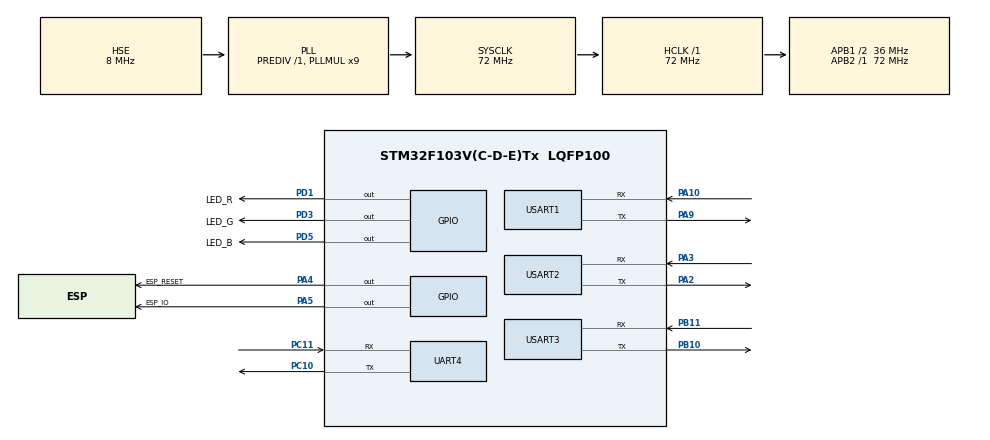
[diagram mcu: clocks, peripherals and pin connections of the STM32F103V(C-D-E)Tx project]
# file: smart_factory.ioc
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Dma.Request0=USART1_RX
Dma.Request1=USART2_RX
Dma.Request2=USART3_RX
Dma.USART1_RX.0.Direction=DMA_PERIPH_TO_MEMORY
Dma.USART1_RX.0.Instance=DMA1_Channel5
Dma.USART1_RX.0.MemDataAlignment=DMA_MDATAALIGN_BYTE
Dma.USART1_RX.0.MemInc=DMA_MINC_ENABLE
Dma.USART1_RX.0.Mode=DMA_CIRCULAR
Dma.USART1_RX.0.PeriphDataAlignment=DMA_PDATAALIGN_BYTE
Dma.USART1_RX.0.PeriphInc=DMA_PINC_DISABLE
Dma.USART1_RX.0.Priority=DMA_PRIORITY_HIGH
Dma.USART2_RX.1.Direction=DMA_PERIPH_TO_MEMORY
Dma.USART2_RX.1.Instance=DMA1_Channel6
Dma.USART2_RX.1.MemDataAlignment=DMA_MDATAALIGN_BYTE
Dma.USART2_RX.1.MemInc=DMA_MINC_ENABLE
Dma.USART2_RX.1.Mode=DMA_CIRCULAR
Dma.USART2_RX.1.PeriphDataAlignment=DMA_PDATAALIGN_BYTE
Dma.USART2_RX.1.PeriphInc=DMA_PINC_DISABLE
Dma.USART2_RX.1.Priority=DMA_PRIORITY_LOW
Dma.USART3_RX.2.Direction=DMA_PERIPH_TO_MEMORY
Dma.USART3_RX.2.Instance=DMA1_Channel3
Dma.USART3_RX.2.MemDataAlignment=DMA_MDATAALIGN_BYTE
Dma.USART3_RX.2.MemInc=DMA_MINC_ENABLE
Dma.USART3_RX.2.Mode=DMA_CIRCULAR
Dma.USART3_RX.2.PeriphDataAlignment=DMA_PDATAALIGN_BYTE
Dma.USART3_RX.2.PeriphInc=DMA_PINC_DISABLE
Dma.USART3_RX.2.Priority=DMA_PRIORITY_LOW
FREERTOS.BinarySemaphores01=myBinarySem01,Dynamic,NULL
FREERTOS.CountingSemaphores01=myCountingSem01,1,Dynamic,NULL
FREERTOS.Events01=myEvent01,Dynamic,NULL
FREERTOS.Mutexes01=myMutex01,Dynamic,NULL
FREERTOS.RecursiveMutexes01=myRecursiveMutex01,Dynamic,NULL
FREERTOS.Tasks01=main_user,47,128,StartMainTask,Default,NULL,Dynamic,NULL,NULL;revGpsData,8,128,revGpsDataFunc,Default,NULL,Dynamic,NULL,NULL;myTask03,41,128,wifiTask,Default,NULL,Dynamic,NULL,NULL;myTask04,8,128,dataUser,Default,NULL,Dynamic,NULL,NULL
FREERTOS.Timers01=myTimer01,Callback01,osTimerPeriodic,Default,NULL,Dynamic,NULL;myTimer02,Callback02,osTimerPeriodic,Default,NULL,Dynamic,NULL
FREERTOS.configTOTAL_HEAP_SIZE=10000
Mcu.Family=STM32F1
Mcu.Name=STM32F103V(C-D-E)Tx
Mcu.Package=LQFP100
NVIC.DMA1_Channel3_IRQn=true\:5\:0\:false\:false\:true\:true\:false\:true
NVIC.DMA1_Channel5_IRQn=true\:5\:0\:false\:false\:true\:true\:false\:true
NVIC.DMA1_Channel6_IRQn=true\:5\:0\:false\:false\:true\:true\:false\:true
NVIC.PriorityGroup=NVIC_PRIORITYGROUP_4
NVIC.TIM1_UP_IRQn=true\:0\:0\:false\:false\:true\:false\:false\:true
NVIC.TIM6_IRQn=true\:5\:0\:false\:false\:true\:true\:true\:true
NVIC.TimeBase=TIM1_UP_IRQn
NVIC.TimeBaseIP=TIM1
NVIC.USART1_IRQn=true\:5\:0\:false\:false\:true\:true\:true\:true
NVIC.USART2_IRQn=true\:5\:0\:false\:false\:true\:true\:true\:true
NVIC.USART3_IRQn=true\:5\:0\:false\:false\:true\:true\:true\:true
OSC_IN.Mode=HSE-External-Oscillator
OSC_IN.Signal=RCC_OSC_IN
OSC_OUT.Mode=HSE-External-Oscillator
OSC_OUT.Signal=RCC_OSC_OUT
PA10.Mode=Asynchronous
PA10.Signal=USART1_RX
PA13.Mode=Serial_Wire
PA13.Signal=SYS_JTMS-SWDIO
PA14.Mode=Serial_Wire
PA14.Signal=SYS_JTCK-SWCLK
PA2.Mode=Asynchronous
PA2.Signal=USART2_TX
PA3.Mode=Asynchronous
PA3.Signal=USART2_RX
PA4.GPIO_Label=ESP_RESET
PA4.GPIO_PuPd=GPIO_PULLUP
PA4.Signal=GPIO_Output
PA5.GPIO_Label=ESP_IO
PA5.GPIO_PuPd=GPIO_PULLUP
PA5.Signal=GPIO_Output
PA9.Mode=Asynchronous
PA9.Signal=USART1_TX
PB10.Mode=Asynchronous
PB10.Signal=USART3_TX
PB11.Mode=Asynchronous
PB11.Signal=USART3_RX
PC10.Mode=Asynchronous
PC10.Signal=UART4_TX
PC11.Mode=Asynchronous
PC11.Signal=UART4_RX
PD1.GPIO_Label=LED_R
PD1.Signal=GPIO_Output
PD3.GPIO_Label=LED_G
PD3.Signal=GPIO_Output
PD5.GPIO_Label=LED_B
PD5.Signal=GPIO_Output
ProjectManager.HeapSize=0x200
ProjectManager.StackSize=0x400
ProjectManager.TargetToolchain=MDK-ARM V5.27
RCC.AHBFreq_Value=72000000
RCC.APB1CLKDivider=RCC_HCLK_DIV2
RCC.APB1Freq_Value=36000000
RCC.APB1TimFreq_Value=72000000
RCC.APB2Freq_Value=72000000
RCC.APB2TimFreq_Value=72000000
RCC.HCLKFreq_Value=72000000
RCC.PLLMUL=RCC_PLL_MUL9
RCC.PLLSourceVirtual=RCC_PLLSOURCE_HSE
RCC.SYSCLKFreq_VALUE=72000000
RCC.SYSCLKSource=RCC_SYSCLKSOURCE_PLLCLK
RCC.USBFreq_Value=72000000
TIM6.AutoReloadPreload=TIM_AUTORELOAD_PRELOAD_ENABLE
TIM6.Period=1000
TIM6.Prescaler=36-1
UART4.VirtualMode=Asynchronous
USART1.VirtualMode=VM_ASYNC
USART2.VirtualMode=VM_ASYNC
USART3.VirtualMode=VM_ASYNC
VP_FREERTOS_VS_CMSIS_V2.Mode=CMSIS_V2
VP_SYS_VS_tim1.Mode=TIM1
VP_TIM6_VS_ClockSourceINT.Mode=Enable_Timer
board=custom

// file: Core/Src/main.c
/* USER CODE BEGIN Header */
/**
  ******************************************************************************
  * @file           : main.c
  * @brief          : Main program body
  ******************************************************************************
  * @attention
  *
  * <h2><center>&copy; Copyright (c) 2021 STMicroelectronics.
  * All rights reserved.</center></h2>
  *
  * This software component is licensed by ST under Ultimate Liberty license
  * SLA0044, the "License"; You may not use this file except in compliance with
  * the License. You may obtain a copy of the License at:
  *                             www.st.com/SLA0044
  *
  ******************************************************************************
  */
/* USER CODE END Header */
#include "main.h"
#include "cmsis_os.h"
#include "dma.h"
#include "tim.h"
#include "usart.h"
#include "gpio.h"

/* USER CODE BEGIN Includes */
#include "stdio.h"
/* USER CODE END Includes */

/* USER CODE BEGIN PTD */
int fputc(int ch, FILE* stream)
{
		HAL_UART_Transmit(&huart1,(uint8_t *)&ch,1,0xff);
    return ch;
}

/* USER CODE END PTD */

void SystemClock_Config(void);
void MX_FREERTOS_Init(void);

int main(void)
{

  /* MCU Configuration--------------------------------------------------------*/

  /* Reset of all peripherals, Initializes the Flash interface and the Systick. */
  HAL_Init();

  /* Configure the system clock */
  SystemClock_Config();

  /* Initialize all configured peripherals */
  MX_GPIO_Init();
  MX_DMA_Init();
  MX_USART1_UART_Init();
  MX_USART2_UART_Init();
  MX_USART3_UART_Init();
  MX_UART4_Init();
  MX_TIM6_Init();

  /* Init scheduler */
  osKernelInitialize();  /* Call init function for freertos objects (in freertos.c) */
  MX_FREERTOS_Init();
  /* Start scheduler */
  osKernelStart();

  /* We should never get here as control is now taken by the scheduler */
  /* Infinite loop */
  while (1)
  {

  }
}

void SystemClock_Config(void)
{
  RCC_OscInitTypeDef RCC_OscInitStruct = {0};
  RCC_ClkInitTypeDef RCC_ClkInitStruct = {0};

  /** Initializes the RCC Oscillators according to the specified parameters
  * in the RCC_OscInitTypeDef structure.
  */
  RCC_OscInitStruct.OscillatorType = RCC_OSCILLATORTYPE_HSE;
  RCC_OscInitStruct.HSEState = RCC_HSE_ON;
  RCC_OscInitStruct.HSEPredivValue = RCC_HSE_PREDIV_DIV1;
  RCC_OscInitStruct.HSIState = RCC_HSI_ON;
  RCC_OscInitStruct.PLL.PLLState = RCC_PLL_ON;
  RCC_OscInitStruct.PLL.PLLSource = RCC_PLLSOURCE_HSE;
  RCC_OscInitStruct.PLL.PLLMUL = RCC_PLL_MUL9;
  if (HAL_RCC_OscConfig(&RCC_OscInitStruct) != HAL_OK)
  {
    Error_Handler();
  }
  /** Initializes the CPU, AHB and APB buses clocks
  */
  RCC_ClkInitStruct.ClockType = RCC_CLOCKTYPE_HCLK|RCC_CLOCKTYPE_SYSCLK
                              |RCC_CLOCKTYPE_PCLK1|RCC_CLOCKTYPE_PCLK2;
  RCC_ClkInitStruct.SYSCLKSource = RCC_SYSCLKSOURCE_PLLCLK;
  RCC_ClkInitStruct.AHBCLKDivider = RCC_SYSCLK_DIV1;
  RCC_ClkInitStruct.APB1CLKDivider = RCC_HCLK_DIV2;
  RCC_ClkInitStruct.APB2CLKDivider = RCC_HCLK_DIV1;

  if (HAL_RCC_ClockConfig(&RCC_ClkInitStruct, FLASH_LATENCY_2) != HAL_OK)
  {
    Error_Handler();
  }
}

 /**
  * @brief  Period elapsed callback in non blocking mode
  * @note   This function is called  when TIM1 interrupt took place, inside
  * HAL_TIM_IRQHandler(). It makes a direct call to HAL_IncTick() to increment
  * a global variable "uwTick" used as application time base.
  * @param  htim : TIM handle
  * @retval None
  */
void HAL_TIM_PeriodElapsedCallback(TIM_HandleTypeDef *htim)
{
  if (htim->Instance == TIM1) {
    HAL_IncTick();
  }
}

void Error_Handler(void)
{
  __disable_irq();
  while (1)
  {
  }
}

/************************ (C) COPYRIGHT STMicroelectronics *****END OF FILE****/

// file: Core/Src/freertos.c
/* USER CODE BEGIN Header */
/**
  ******************************************************************************
  * File Name          : freertos.c
  * Description        : Code for freertos applications
  ******************************************************************************
  * @attention
  *
  * <h2><center>&copy; Copyright (c) 2021 STMicroelectronics.
  * All rights reserved.</center></h2>
  *
  * This software component is licensed by ST under Ultimate Liberty license
  * SLA0044, the "License"; You may not use this file except in compliance with
  * the License. You may obtain a copy of the License at:
  *                             www.st.com/SLA0044
  *
  ******************************************************************************
  */
/* USER CODE END Header */

#include "FreeRTOS.h"
#include "task.h"
#include "main.h"
#include "cmsis_os.h"

/* USER CODE BEGIN Includes */
#include "shellUsart.h"
#include "gpio.h"
#include "GPS.h"
#include "mqttApp.h"
#include "WifiUser.h"
#include "wirelessDevice.h"
#include "pointManager.h"
/* USER CODE END Includes */

/* Definitions for main_user */
osThreadId_t main_userHandle;
const osThreadAttr_t main_user_attributes = {
  .name = "main_user",
  .stack_size = 128 * 4,
  .priority = (osPriority_t) osPriorityHigh7,
};
/* Definitions for revGpsData */
osThreadId_t revGpsDataHandle;
const osThreadAttr_t revGpsData_attributes = {
  .name = "revGpsData",
  .stack_size = 128 * 4,
  .priority = (osPriority_t) osPriorityLow,
};
/* Definitions for myTask03 */
osThreadId_t myTask03Handle;
const osThreadAttr_t myTask03_attributes = {
  .name = "myTask03",
  .stack_size = 128 * 4,
  .priority = (osPriority_t) osPriorityHigh1,
};
/* Definitions for myTask04 */
osThreadId_t myTask04Handle;
const osThreadAttr_t myTask04_attributes = {
  .name = "myTask04",
  .stack_size = 128 * 4,
  .priority = (osPriority_t) osPriorityLow,
};
/* Definitions for myTimer01 */
osTimerId_t myTimer01Handle;
const osTimerAttr_t myTimer01_attributes = {
  .name = "myTimer01"
};
/* Definitions for myTimer02 */
osTimerId_t myTimer02Handle;
const osTimerAttr_t myTimer02_attributes = {
  .name = "myTimer02"
};
/* Definitions for myMutex01 */
osMutexId_t myMutex01Handle;
const osMutexAttr_t myMutex01_attributes = {
  .name = "myMutex01"
};
/* Definitions for myRecursiveMutex01 */
osMutexId_t myRecursiveMutex01Handle;
const osMutexAttr_t myRecursiveMutex01_attributes = {
  .name = "myRecursiveMutex01",
  .attr_bits = osMutexRecursive,
};
/* Definitions for myBinarySem01 */
osSemaphoreId_t myBinarySem01Handle;
const osSemaphoreAttr_t myBinarySem01_attributes = {
  .name = "myBinarySem01"
};
/* Definitions for myCountingSem01 */
osSemaphoreId_t myCountingSem01Handle;
const osSemaphoreAttr_t myCountingSem01_attributes = {
  .name = "myCountingSem01"
};
/* Definitions for myEvent01 */
osEventFlagsId_t myEvent01Handle;
const osEventFlagsAttr_t myEvent01_attributes = {
  .name = "myEvent01"
};

void StartMainTask(void *argument);
void revGpsDataFunc(void *argument);
void wifiTask(void *argument);
void dataUser(void *argument);
void Callback01(void *argument);
void Callback02(void *argument);

void MX_FREERTOS_Init(void); /* (MISRA C 2004 rule 8.1) */

void MX_FREERTOS_Init(void) {
  /* Create the mutex(es) */
  /* creation of myMutex01 */
  myMutex01Handle = osMutexNew(&myMutex01_attributes);

  /* Create the recursive mutex(es) */
  /* creation of myRecursiveMutex01 */
  myRecursiveMutex01Handle = osMutexNew(&myRecursiveMutex01_attributes);

  /* Create the semaphores(s) */
  /* creation of myBinarySem01 */
  myBinarySem01Handle = osSemaphoreNew(1, 1, &myBinarySem01_attributes);

  /* creation of myCountingSem01 */
  myCountingSem01Handle = osSemaphoreNew(1, 1, &myCountingSem01_attributes);

  /* Create the timer(s) */
  /* creation of myTimer01 */
  myTimer01Handle = osTimerNew(Callback01, osTimerPeriodic, NULL, &myTimer01_attributes);

  /* creation of myTimer02 */
  myTimer02Handle = osTimerNew(Callback02, osTimerPeriodic, NULL, &myTimer02_attributes);

  /* Create the thread(s) */
  /* creation of main_user */
  main_userHandle = osThreadNew(StartMainTask, NULL, &main_user_attributes);

  /* creation of revGpsData */
  revGpsDataHandle = osThreadNew(revGpsDataFunc, NULL, &revGpsData_attributes);

  /* creation of myTask03 */
  myTask03Handle = osThreadNew(wifiTask, NULL, &myTask03_attributes);

  /* creation of myTask04 */
  myTask04Handle = osThreadNew(dataUser, NULL, &myTask04_attributes);

  /* creation of myEvent01 */
  myEvent01Handle = osEventFlagsNew(&myEvent01_attributes);

}

void StartMainTask(void *argument)
{
  /* USER CODE BEGIN StartMainTask */
	initShellusart();
	initWirelessUsart();
//  GPS_Init();
//  __HAL_UART_ENABLE_IT(&huart4,UART_IT_RXNE);
  while(!getWifiConnectFlag())
  {
	  osDelay(10);
  }
  app_init();   //mqtt

  /* Infinite loop */
  for(;;)
  {
    if(getWifiConnectFlag())
    {
      //wifi success
      app_tick();
    }
    app_loopSendData();
	  loopPointHeart();
//    GPS_Process();
    osDelay(1);

  }
  /* USER CODE END StartMainTask */
}

void revGpsDataFunc(void *argument)
{
  /* USER CODE BEGIN revGpsDataFunc */

  /* Infinite loop */
	for(;;)
	{
		LED_OPEN_B;
		osDelay(300);
		LED_CLOSE_B;
		osDelay(300);
		osDelay(1);
	}
  /* USER CODE END revGpsDataFunc */
}

void wifiTask(void *argument)
{
  /* USER CODE BEGIN wifiTask */

	HAL_GPIO_WritePin(GPIOA, ESP_RESET_Pin, GPIO_PIN_SET);
	osDelay(1000);
	initWifiusart();
	/* Infinite loop */
	for(;;)
	{
	  osDelay(1);
    wifiLibLoop();
	}
	/* USER CODE END wifiTask */
}

void dataUser(void *argument)
{
  for(;;)
  {
    osDelay(1);
  }
}

/* Callback01 function */
void Callback01(void *argument)
{
}

/* Callback02 function */
void Callback02(void *argument)
{
}

/* USER CODE BEGIN Application */
void HAL_UART_RxCpltCallback(UART_HandleTypeDef *huart)
{
//	if(huart == &huart4)
	{
//		GPS_CallBack();
	}
}
/* USER CODE END Application */

/************************ (C) COPYRIGHT STMicroelectronics *****END OF FILE****/
